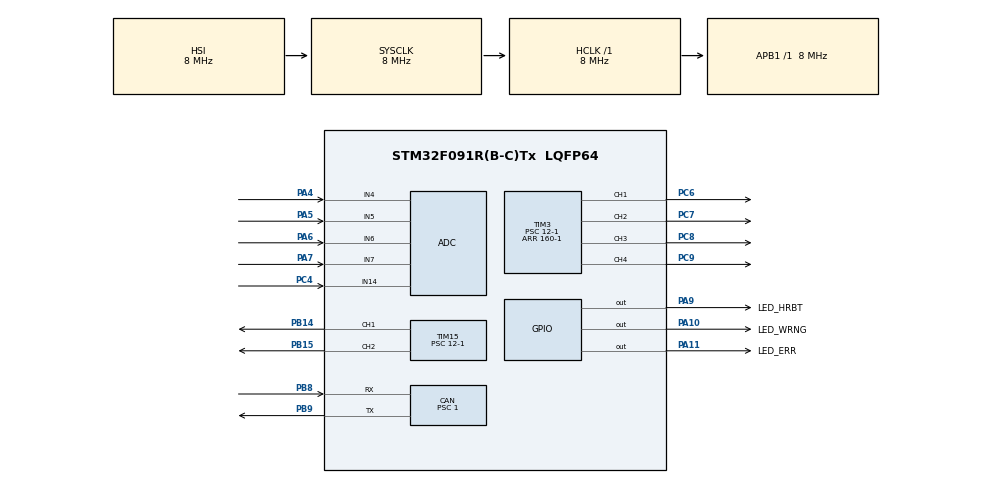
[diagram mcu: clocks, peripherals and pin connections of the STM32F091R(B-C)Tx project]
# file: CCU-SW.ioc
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ADC.ContinuousConvMode=DISABLE
ADC.ExternalTrigConv=ADC_EXTERNALTRIGCONV_T2_TRGO
ADC.SamplingTime=ADC_SAMPLETIME_41CYCLES_5
CAN.BS1=CAN_BS1_6TQ
CAN.CalculateBaudRate=1000000
CAN.CalculateTimeBit=1000
CAN.CalculateTimeQuantum=125.0
CAN.Mode=CAN_MODE_NORMAL
CAN.Prescaler=1
Dma.ADC.0.Direction=DMA_PERIPH_TO_MEMORY
Dma.ADC.0.Instance=DMA1_Channel1
Dma.ADC.0.MemDataAlignment=DMA_MDATAALIGN_HALFWORD
Dma.ADC.0.MemInc=DMA_MINC_ENABLE
Dma.ADC.0.Mode=DMA_NORMAL
Dma.ADC.0.PeriphDataAlignment=DMA_PDATAALIGN_HALFWORD
Dma.ADC.0.PeriphInc=DMA_PINC_DISABLE
Dma.ADC.0.Priority=DMA_PRIORITY_LOW
Dma.Request0=ADC
Mcu.Family=STM32F0
Mcu.Name=STM32F091R(B-C)Tx
Mcu.Package=LQFP64
NVIC.ADC1_COMP_IRQn=true\:0\:0\:false\:false\:true\:true\:true
NVIC.CEC_CAN_IRQn=true\:0\:0\:false\:false\:true\:true\:true
NVIC.DMA1_Ch1_IRQn=true\:0\:0\:false\:false\:true\:false\:true
NVIC.RCC_CRS_IRQn=true\:0\:0\:false\:false\:true\:true\:false
NVIC.TIM15_IRQn=true\:0\:0\:false\:false\:true\:true\:true
NVIC.TIM1_BRK_UP_TRG_COM_IRQn=true\:0\:0\:false\:false\:true\:true\:true
NVIC.TIM1_CC_IRQn=true\:0\:0\:false\:false\:true\:true\:true
NVIC.TIM2_IRQn=true\:0\:0\:false\:false\:true\:true\:true
NVIC.TIM3_IRQn=true\:0\:0\:false\:false\:true\:true\:true
NVIC.TIM7_IRQn=true\:0\:0\:false\:false\:true\:true\:true
PA10.GPIO_Label=LED_WRNG
PA10.Signal=GPIO_Output
PA11.GPIO_Label=LED_ERR
PA11.Signal=GPIO_Output
PA13.Mode=Serial_Wire
PA13.Signal=SYS_SWDIO
PA14.Mode=Serial_Wire
PA14.Signal=SYS_SWCLK
PA4.Mode=IN4
PA4.Signal=ADC_IN4
PA5.Mode=IN5
PA5.Signal=ADC_IN5
PA6.Mode=IN6
PA6.Signal=ADC_IN6
PA7.Mode=IN7
PA7.Signal=ADC_IN7
PA9.GPIO_Label=LED_HRBT
PA9.Signal=GPIO_Output
PB14.Signal=S_TIM15_CH1
PB15.Signal=S_TIM15_CH2
PB8.Mode=CAN_Activate
PB8.Signal=CAN_RX
PB9.Mode=CAN_Activate
PB9.Signal=CAN_TX
PC4.Mode=IN14
PC4.Signal=ADC_IN14
PC6.Signal=S_TIM3_CH1
PC7.Signal=S_TIM3_CH2
PC8.Signal=S_TIM3_CH3
PC9.Signal=S_TIM3_CH4
ProjectManager.HeapSize=0x200
ProjectManager.StackSize=0x400
ProjectManager.TargetToolchain=STM32CubeIDE
RCC.AHBFreq_Value=8000000
RCC.APB1Freq_Value=8000000
RCC.APB1TimFreq_Value=8000000
RCC.FLatency-AdvancedSettings=FLASH_LATENCY_0
RCC.HCLKFreq_Value=8000000
RCC.PLLDivider=RCC_PREDIV_DIV2
RCC.PLLMUL=RCC_PLL_MUL12
RCC.PREFETCH_ENABLE-AdvancedSettings=1
RCC.SYSCLKFreq_VALUE=8000000
SH.S_TIM15_CH1.0=TIM15_CH1,PWM Generation1 CH1
SH.S_TIM15_CH2.0=TIM15_CH2,PWM Generation2 CH2
SH.S_TIM3_CH1.0=TIM3_CH1,PWM Generation1 CH1
SH.S_TIM3_CH2.0=TIM3_CH2,PWM Generation2 CH2
SH.S_TIM3_CH3.0=TIM3_CH3,PWM Generation3 CH3
SH.S_TIM3_CH4.0=TIM3_CH4,PWM Generation4 CH4
STMicroelectronics.X-CUBE-ALGOBUILD.1.2.1.LibraryCcDSPOoLibraryJjDSPOoLibrary=true
TIM1.Period=24000-1
TIM1.Prescaler=10-1
TIM1.TIM_MasterOutputTrigger=TIM_TRGO_UPDATE
TIM15.Channel-PWM\ Generation1\ CH1=TIM_CHANNEL_1
TIM15.Channel-PWM\ Generation2\ CH2=TIM_CHANNEL_2
TIM15.Period=160-1
TIM15.Prescaler=12-1
TIM2.Period=65535
TIM2.Prescaler=0
TIM2.TIM_MasterOutputTrigger=TIM_TRGO_UPDATE
TIM3.Channel-PWM\ Generation1\ CH1=TIM_CHANNEL_1
TIM3.Channel-PWM\ Generation2\ CH2=TIM_CHANNEL_2
TIM3.Channel-PWM\ Generation3\ CH3=TIM_CHANNEL_3
TIM3.Channel-PWM\ Generation4\ CH4=TIM_CHANNEL_4
TIM3.Period=160-1
TIM3.Prescaler=12-1
TIM7.Period=24000-1
TIM7.Prescaler=100-1
VP_STMicroelectronics.X-CUBE-ALGOBUILD_VS_DSPOoLibraryJjLibrary_1.2.1_1.2.1.Mode=DSPOoLibraryJjLibrary
VP_TIM15_VS_ClockSourceINT.Mode=Internal
VP_TIM1_VS_ClockSourceINT.Mode=Internal
VP_TIM2_VS_ClockSourceINT.Mode=Internal
VP_TIM3_VS_ClockSourceINT.Mode=Internal
VP_TIM7_VS_ClockSourceINT.Mode=Enable_Timer
board=NUCLEO-F091RC

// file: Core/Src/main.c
/* USER CODE BEGIN Header */
/**
 ******************************************************************************
 * @file           : main.c
 * @brief          : Main program body
 ******************************************************************************
 * @attention
 *
 * Copyright (c) 2022 STMicroelectronics.
 * All rights reserved.
 *
 * This software is licensed under terms that can be found in the LICENSE file
 * in the root directory of this software component.
 * If no LICENSE file comes with this software, it is provided AS-IS.
 *
 ******************************************************************************
 */
/* USER CODE END Header */
#include "main.h"
#include "adc.h"
#include "can.h"
#include "dma.h"
#include "tim.h"
#include "gpio.h"

/* USER CODE BEGIN Includes */
#include "kthfspe_can.h"
/* USER CODE END Includes */

void SystemClock_Config(void);

/* USER CODE BEGIN 0 */

struct {
	float rear_temp, front_temp, extra_temp, discharge_resistor_temp,
			inverter_temp;
} tData;

float pwm_vector[6];

float *ptData = &tData.rear_temp;

#define ADC_ROWS 5
#define ADC_COLS 10

uint16_t data_buffer[ADC_ROWS * ADC_COLS];

typedef enum {
	NONE = 0,
	FAN_1 = 1,
	FAN_2 = 2,
	FAN_3 = 3,
	FRONT_PUMP = 4,
	REAR_PUMP = 5,
	INVERTER_PUMP = 6
} cID;

void can1_ccu_status_1_transmit_callback(can1_ccu_status_1_t *ccu_status_1) {
	ccu_status_1->fan1_temperature = tData.front_temp;
	ccu_status_1->fan2_temperature = tData.rear_temp;
	ccu_status_1->fan3_temperature = tData.inverter_temp;
	ccu_status_1->fron_pump_temperature = tData.front_temp;
	ccu_status_1->rear_pump_temperature = tData.rear_temp;
	ccu_status_1->inverter_pump_temperature = tData.inverter_temp;
	return;
}

void can1_ccu_status_2_transmit_callback(can1_ccu_status_2_t *can1_ccu_status_2) {
	return;
}

void set_duty_cycle(cID id, float duty_cycle) {
	if (duty_cycle < 0)
		duty_cycle = 0;
	if (100 < duty_cycle)
		duty_cycle = 100;

	switch (id) {
	case FAN_1:
		htim3.Instance->CCR1 = htim3.Instance->ARR * duty_cycle / 100;
		break;
	case FAN_2:
		htim15.Instance->CCR2 = htim15.Instance->ARR * duty_cycle / 100;
		break;
	case FAN_3:
		htim15.Instance->CCR1 = htim15.Instance->ARR * duty_cycle / 100;
		break;
	case FRONT_PUMP:
		htim3.Instance->CCR2 = htim3.Instance->ARR * duty_cycle / 100;
		break;
	case REAR_PUMP:
		htim3.Instance->CCR3 = htim3.Instance->ARR * duty_cycle / 100;
		break;
	case INVERTER_PUMP:
		htim3.Instance->CCR4 = htim3.Instance->ARR * duty_cycle / 100;
		break;

	}
	//htim3.Instance->CCR1 = 30;
	//htim15.Instance->CCR2 = 30;
	//htim15.Instance->CCR1 = 30;
}

void can1_mcu_set_ccu_cooling_points_receive_callback(
		can1_mcu_set_ccu_cooling_points_t *mcu_set_ccu_cooling_points) {
	set_duty_cycle(FAN_1, mcu_set_ccu_cooling_points->fan1_speed);
	set_duty_cycle(FAN_2, mcu_set_ccu_cooling_points->fan2_speed);
	set_duty_cycle(FAN_3, mcu_set_ccu_cooling_points->fan3_speed);
	set_duty_cycle(FRONT_PUMP, mcu_set_ccu_cooling_points->fron_pump_speed);
	set_duty_cycle(REAR_PUMP, mcu_set_ccu_cooling_points->rear_pump_speed);
	set_duty_cycle(INVERTER_PUMP, mcu_set_ccu_cooling_points->inverter_pump_speed);
	return;
}

float temperature_from_thermistor(uint16_t bits) {

#define THERMISTOR_NOMINAL_RESISTANCE 	10000.0
#define THERMISTOR_SERIES_RESISTANCE 	10000.0
#define THERMISTOR_NOMINAL_TEMPERATURE 	25.0
#define THERMISTOR_BETA_VALUE 			3500.0
#define ADC_MAX_VALUE 					4095.0

	return (1
			/ ((log(
					((THERMISTOR_SERIES_RESISTANCE * (ADC_MAX_VALUE - bits))
							/ bits) / THERMISTOR_NOMINAL_RESISTANCE)
					/ THERMISTOR_BETA_VALUE)
					+ (1 / (273.15 + THERMISTOR_NOMINAL_TEMPERATURE)))) - 273.15;
}

int flag = 1;

void HAL_ADC_ConvCpltCallback(ADC_HandleTypeDef *hadc) {
	flag = 1;
}

void set_sample_frequency(double frequency) {
	frequency *= ADC_ROWS;
	double k = sqrt(SystemCoreClock / frequency);
	htim2.Instance->ARR = k;
	htim2.Instance->PSC = k;
	htim2.Instance->CNT = 0;
}

void set_cooling_frequency(double frequency) {
	double k = sqrt(SystemCoreClock / frequency);
	htim3.Instance->ARR = k;
	htim3.Instance->PSC = k;
	htim3.Instance->CNT = 0;
	htim15.Instance->ARR = k;
	htim15.Instance->PSC = k;
	htim15.Instance->CNT = 0;
}

void initialize_timers() {

	/* Initialize ADC sampler */

	set_sample_frequency(2000);

	if (HAL_TIM_Base_Start(&htim2) != HAL_OK) {
		Error_Handler();
	}

	/* Initialize PWM peripherals */

	set_cooling_frequency(20000);

	if (HAL_TIM_PWM_Start(&htim3, TIM_CHANNEL_1) != HAL_OK) {
		Error_Handler();
	}

	if (HAL_TIM_PWM_Start(&htim3, TIM_CHANNEL_2) != HAL_OK) {
		Error_Handler();
	}

	if (HAL_TIM_PWM_Start(&htim3, TIM_CHANNEL_3) != HAL_OK) {
		Error_Handler();
	}

	if (HAL_TIM_PWM_Start(&htim3, TIM_CHANNEL_4) != HAL_OK) {
		Error_Handler();
	}

	if (HAL_TIM_PWM_Start(&htim15, TIM_CHANNEL_1) != HAL_OK) {
		Error_Handler();
	}

	if (HAL_TIM_PWM_Start(&htim15, TIM_CHANNEL_2) != HAL_OK) {
		Error_Handler();
	}
}

/* USER CODE END 0 */

int main(void) {

	/* MCU Configuration--------------------------------------------------------*/

	/* Reset of all peripherals, Initializes the Flash interface and the Systick. */
	HAL_Init();

	/* Configure the system clock */
	SystemClock_Config();

	/* Initialize all configured peripherals */
	MX_GPIO_Init();
	MX_ADC_Init();
	MX_CAN_Init();
	MX_TIM2_Init();
	MX_TIM3_Init();
	MX_TIM15_Init();
	MX_DMA_Init();
	MX_TIM1_Init();
	MX_TIM7_Init();
	/* USER CODE BEGIN 2 */

	if (!init_peripheral_can_hal_can1(&hcan)) {
		Error_Handler();
	}

	initialize_timers();

	/* USER CODE END 2 */

	/* Infinite loop */
	/* USER CODE BEGIN WHILE */
	int i, j;
	while (1) {
		if (flag) {
			flag = 0;

			if (HAL_ADC_Start_DMA(&hadc, (uint32_t*) data_buffer,
					sizeof(data_buffer) / 2) != HAL_OK) { // Start ADC in DMA mode and declare the buffer where store the results
				Error_Handler();
			}

			for (i = 0; i < ADC_ROWS; i++) {
				ptData[i] = 0;
				for (j = 0; j < ADC_COLS; j++) {
					ptData[i] += data_buffer[ADC_ROWS * j + i];
				}
				ptData[i] = temperature_from_thermistor(ptData[i] / ADC_COLS);
			}
		}

		HAL_Delay(100);
		HAL_GPIO_TogglePin(LED_HRBT_GPIO_Port, LED_HRBT_Pin);
		HAL_GPIO_TogglePin(LED_ERR_GPIO_Port, LED_ERR_Pin);
		HAL_GPIO_TogglePin(LED_WRNG_GPIO_Port, LED_WRNG_Pin);
		can1_ccu_status_1_transmit();
		can1_ccu_status_2_transmit();

		/* USER CODE END WHILE */

	}
}

void SystemClock_Config(void) {
	RCC_OscInitTypeDef RCC_OscInitStruct = { 0 };
	RCC_ClkInitTypeDef RCC_ClkInitStruct = { 0 };

	/** Initializes the RCC Oscillators according to the specified parameters
	 * in the RCC_OscInitTypeDef structure.
	 */
	RCC_OscInitStruct.OscillatorType = RCC_OSCILLATORTYPE_HSI
			| RCC_OSCILLATORTYPE_HSI14;
	RCC_OscInitStruct.HSIState = RCC_HSI_ON;
	RCC_OscInitStruct.HSI14State = RCC_HSI14_ON;
	RCC_OscInitStruct.HSICalibrationValue = RCC_HSICALIBRATION_DEFAULT;
	RCC_OscInitStruct.HSI14CalibrationValue = 16;
	RCC_OscInitStruct.PLL.PLLState = RCC_PLL_NONE;
	if (HAL_RCC_OscConfig(&RCC_OscInitStruct) != HAL_OK) {
		Error_Handler();
	}
	/** Initializes the CPU, AHB and APB buses clocks
	 */
	RCC_ClkInitStruct.ClockType = RCC_CLOCKTYPE_HCLK | RCC_CLOCKTYPE_SYSCLK
			| RCC_CLOCKTYPE_PCLK1;
	RCC_ClkInitStruct.SYSCLKSource = RCC_SYSCLKSOURCE_HSI;
	RCC_ClkInitStruct.AHBCLKDivider = RCC_SYSCLK_DIV1;
	RCC_ClkInitStruct.APB1CLKDivider = RCC_HCLK_DIV1;

	if (HAL_RCC_ClockConfig(&RCC_ClkInitStruct, FLASH_LATENCY_0) != HAL_OK) {
		Error_Handler();
	}
}

void Error_Handler(void) {
	__disable_irq();
	while (1) {
	}
}
